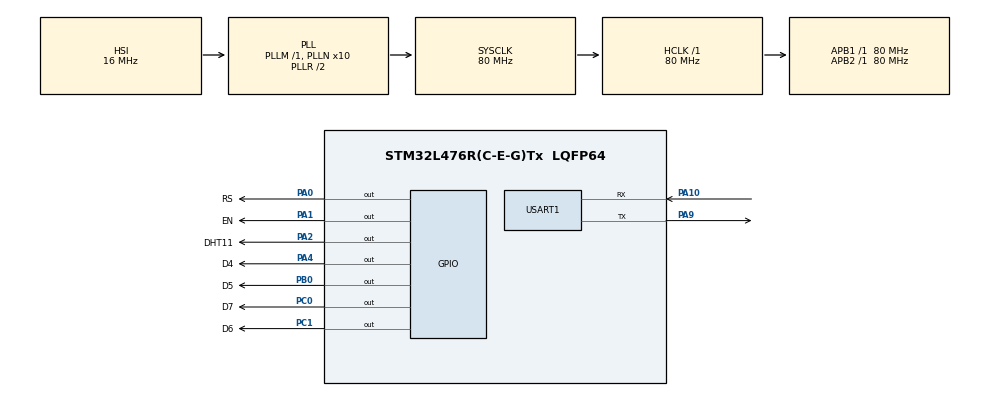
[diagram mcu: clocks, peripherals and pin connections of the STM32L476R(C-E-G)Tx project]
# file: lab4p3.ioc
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Dma.Request0=USART1_RX
Dma.Request1=USART1_TX
Dma.USART1_RX.0.Direction=DMA_PERIPH_TO_MEMORY
Dma.USART1_RX.0.Instance=DMA1_Channel5
Dma.USART1_RX.0.MemDataAlignment=DMA_MDATAALIGN_BYTE
Dma.USART1_RX.0.MemInc=DMA_MINC_ENABLE
Dma.USART1_RX.0.Mode=DMA_CIRCULAR
Dma.USART1_RX.0.PeriphDataAlignment=DMA_PDATAALIGN_BYTE
Dma.USART1_RX.0.PeriphInc=DMA_PINC_DISABLE
Dma.USART1_RX.0.Priority=DMA_PRIORITY_LOW
Dma.USART1_TX.1.Direction=DMA_MEMORY_TO_PERIPH
Dma.USART1_TX.1.Instance=DMA1_Channel4
Dma.USART1_TX.1.MemDataAlignment=DMA_MDATAALIGN_BYTE
Dma.USART1_TX.1.MemInc=DMA_MINC_ENABLE
Dma.USART1_TX.1.Mode=DMA_CIRCULAR
Dma.USART1_TX.1.PeriphDataAlignment=DMA_PDATAALIGN_BYTE
Dma.USART1_TX.1.PeriphInc=DMA_PINC_DISABLE
Dma.USART1_TX.1.Priority=DMA_PRIORITY_LOW
Mcu.Family=STM32L4
Mcu.Name=STM32L476R(C-E-G)Tx
Mcu.Package=LQFP64
NVIC.DMA1_Channel4_IRQn=true\:0\:0\:false\:false\:true\:false\:true\:true
NVIC.DMA1_Channel5_IRQn=true\:0\:0\:false\:false\:true\:false\:true\:true
NVIC.PriorityGroup=NVIC_PRIORITYGROUP_4
PA0.GPIO_Label=RS
PA0.Signal=GPIO_Output
PA1.GPIO_Label=EN
PA1.Signal=GPIO_Output
PA10.Mode=Asynchronous
PA10.Signal=USART1_RX
PA2.GPIO_Label=DHT11
PA2.GPIO_ModeDefaultOutputPP=GPIO_MODE_OUTPUT_OD
PA2.GPIO_PuPd=GPIO_PULLUP
PA2.Signal=GPIO_Output
PA3.GPIO_Label=USART_RX
PA3.GPIO_Mode=GPIO_MODE_AF_PP
PA3.GPIO_PuPd=GPIO_NOPULL
PA3.GPIO_Speed=GPIO_SPEED_FREQ_VERY_HIGH
PA3.Signal=USART2_RX
PA4.GPIO_Label=D4
PA4.Signal=GPIO_Output
PA9.Mode=Asynchronous
PA9.Signal=USART1_TX
PB0.GPIO_Label=D5
PB0.Signal=GPIO_Output
PC0.GPIO_Label=D7
PC0.Signal=GPIO_Output
PC1.GPIO_Label=D6
PC1.Signal=GPIO_Output
ProjectManager.HeapSize=0x200
ProjectManager.StackSize=0x400
ProjectManager.TargetToolchain=STM32CubeIDE
RCC.ADCFreq_Value=64000000
RCC.AHBFreq_Value=80000000
RCC.APB1Freq_Value=80000000
RCC.APB1TimFreq_Value=80000000
RCC.APB2Freq_Value=80000000
RCC.APB2TimFreq_Value=80000000
RCC.CortexFreq_Value=80000000
RCC.HCLKFreq_Value=80000000
RCC.HSE_VALUE=8000000
RCC.HSI_VALUE=16000000
RCC.LSE_VALUE=32768
RCC.MSI_VALUE=4000000
RCC.PLLN=10
RCC.PLLSourceVirtual=RCC_PLLSOURCE_HSI
RCC.PREFETCH_ENABLE=1
RCC.SYSCLKFreq_VALUE=80000000
RCC.SYSCLKSource=RCC_SYSCLKSOURCE_PLLCLK
RCC.USBFreq_Value=64000000
RCC.VCOOutputFreq_Value=160000000
USART1.VirtualMode-Asynchronous=VM_ASYNC
VP_TIM1_VS_ClockSourceINT.Mode=Internal
board=NUCLEO-L476RG

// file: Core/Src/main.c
/* USER CODE BEGIN Header */
/**
  ******************************************************************************
  * @file           : main.c
  * @brief          : Main program body
  ******************************************************************************
  * @attention
  *
  * Copyright (c) 2025 STMicroelectronics.
  * All rights reserved.
  *
  * This software is licensed under terms that can be found in the LICENSE file
  * in the root directory of this software component.
  * If no LICENSE file comes with this software, it is provided AS-IS.
  *
  ******************************************************************************
  */
/* USER CODE END Header */
#include "main.h"

/* USER CODE BEGIN Includes */
#include "lcd_driver.h"
#include <stdio.h>
#include <string.h>

/* USER CODE END Includes */

TIM_HandleTypeDef htim1;

UART_HandleTypeDef huart1;
DMA_HandleTypeDef hdma_usart1_rx;
DMA_HandleTypeDef hdma_usart1_tx;

/* USER CODE BEGIN PV */
char tx_buff[40];
float temperature = 0, humidity = 0;

/* USER CODE END PV */

void SystemClock_Config(void);
static void MX_GPIO_Init(void);
static void MX_DMA_Init(void);
static void MX_USART1_UART_Init(void);
static void MX_TIM1_Init(void);
/* USER CODE BEGIN PFP */
void DHT11_Delay(uint32_t us);
void DHT11_Start(void);
uint8_t DHT11_CheckResponse(void);
uint8_t DHT11_ReadByte(void);
uint8_t DHT11_Read(float *temperature, float *humidity);

/* USER CODE END PFP */

/* USER CODE BEGIN 0 */
/* DHT11 pin configuration */
#define DHT11_PIN GPIO_PIN_2
#define DHT11_PORT GPIOA

/* Microsecond delay using TIM1 */
void DHT11_Delay(uint32_t us) {
    __HAL_TIM_SET_COUNTER(&htim1, 0);
    while (__HAL_TIM_GET_COUNTER(&htim1) < us);
}

/* Start signal for DHT11 */
void DHT11_Start(void) {
    GPIO_InitTypeDef GPIO_InitStruct = {0};
    GPIO_InitStruct.Pin = DHT11_PIN;
    GPIO_InitStruct.Mode = GPIO_MODE_OUTPUT_OD;
    GPIO_InitStruct.Pull = GPIO_PULLUP;
    GPIO_InitStruct.Speed = GPIO_SPEED_FREQ_LOW;
    HAL_GPIO_Init(DHT11_PORT, &GPIO_InitStruct);

    HAL_GPIO_WritePin(DHT11_PORT, DHT11_PIN, GPIO_PIN_RESET);
    HAL_Delay(20);
    HAL_GPIO_WritePin(DHT11_PORT, DHT11_PIN, GPIO_PIN_SET);
    DHT11_Delay(30);
}

/* Check response from DHT11 */
uint8_t DHT11_CheckResponse(void) {
    uint8_t response = 0;
    GPIO_InitTypeDef GPIO_InitStruct = {0};
    GPIO_InitStruct.Pin = DHT11_PIN;
    GPIO_InitStruct.Mode = GPIO_MODE_INPUT;
    GPIO_InitStruct.Pull = GPIO_NOPULL;
    HAL_GPIO_Init(DHT11_PORT, &GPIO_InitStruct);

    DHT11_Delay(40);
    if (!HAL_GPIO_ReadPin(DHT11_PORT, DHT11_PIN)) {
        DHT11_Delay(80);
        if (HAL_GPIO_ReadPin(DHT11_PORT, DHT11_PIN)) response = 1;
        while (HAL_GPIO_ReadPin(DHT11_PORT, DHT11_PIN));
    }
    return response;
}

/* Read one byte from DHT11 */
uint8_t DHT11_ReadByte(void) {
    uint8_t i, byte = 0;
    for (i = 0; i < 8; i++) {
        while (!HAL_GPIO_ReadPin(DHT11_PORT, DHT11_PIN));
        DHT11_Delay(40);
        if (HAL_GPIO_ReadPin(DHT11_PORT, DHT11_PIN)) byte |= (1 << (7 - i));
        while (HAL_GPIO_ReadPin(DHT11_PORT, DHT11_PIN));
    }
    return byte;
}

/* Read temperature and humidity */
uint8_t DHT11_Read(float *temperature, float *humidity) {
    uint8_t Rh_byte1, Rh_byte2, Temp_byte1, Temp_byte2, sum;

    DHT11_Start();
    if (!DHT11_CheckResponse()) {
        sprintf(tx_buff, "No response from DHT11\r\n");
        HAL_UART_Transmit(&huart1, (uint8_t*)tx_buff, strlen(tx_buff), HAL_MAX_DELAY);
        return 0;
    }

    Rh_byte1 = DHT11_ReadByte();
    Rh_byte2 = DHT11_ReadByte();
    Temp_byte1 = DHT11_ReadByte();
    Temp_byte2 = DHT11_ReadByte();
    sum = DHT11_ReadByte();

    // Debug: show raw bytes
    sprintf(tx_buff, "Raw: %d %d %d %d Sum: %d\r\n", Rh_byte1, Rh_byte2, Temp_byte1, Temp_byte2, sum);
    HAL_UART_Transmit(&huart1, (uint8_t*)tx_buff, strlen(tx_buff), HAL_MAX_DELAY);

    if (sum != (Rh_byte1 + Rh_byte2 + Temp_byte1 + Temp_byte2)) {
        sprintf(tx_buff, "Checksum failed\r\n");
        HAL_UART_Transmit(&huart1, (uint8_t*)tx_buff, strlen(tx_buff), HAL_MAX_DELAY);
        return 0;
    }

    *humidity = (float)Rh_byte1;
    *temperature = (float)Temp_byte1;
    return 1;
}
/* USER CODE END 0 */

int main(void)
{

  /* MCU Configuration--------------------------------------------------------*/

  /* Reset of all peripherals, Initializes the Flash interface and the Systick. */
  HAL_Init();

  /* Configure the system clock */
  SystemClock_Config();

  /* Initialize all configured peripherals */
  MX_GPIO_Init();
  MX_DMA_Init();
  MX_USART1_UART_Init();
  MX_TIM1_Init();
  /* USER CODE BEGIN 2 */
  lcd_init();
  HAL_TIM_Base_Start(&htim1);
  /* USER CODE END 2 */

  /* Infinite loop */
  while (1)
  {

    /* USER CODE BEGIN 3 */
	  if (DHT11_Read(&temperature, &humidity)) {
		  int tempF = (int)(temperature * 1.8 + 32);
		  int hum = (int)humidity;

		  sprintf(tx_buff, "Temp: %d F Hum: %d%%\r\n", tempF, hum);
		  HAL_UART_Transmit(&huart1, (uint8_t*)tx_buff, strlen(tx_buff), HAL_MAX_DELAY);

		  lcd_clear();
		  setCursor(0, 0);
		  lcd_send_string("Temp:");
		  setCursor(0, 6);
		  sprintf(tx_buff, "%d F", tempF);
		  lcd_send_string(tx_buff);

		  setCursor(1, 0);
		  lcd_send_string("Hum:");
		  setCursor(1, 5);
		  sprintf(tx_buff, "%d%%", hum);
		  lcd_send_string(tx_buff);
	  } else {
		  lcd_clear();
		  setCursor(0, 0);
		  lcd_send_string("DHT11 Error");
		  sprintf(tx_buff, "Sensor read failed\r\n");
		  HAL_UART_Transmit(&huart1, (uint8_t*)tx_buff, strlen(tx_buff), HAL_MAX_DELAY);
	  }

	  HAL_Delay(2000);
  }
  /* USER CODE END 3 */
}

void SystemClock_Config(void)
{
  RCC_OscInitTypeDef RCC_OscInitStruct = {0};
  RCC_ClkInitTypeDef RCC_ClkInitStruct = {0};

  /** Configure the main internal regulator output voltage
  */
  if (HAL_PWREx_ControlVoltageScaling(PWR_REGULATOR_VOLTAGE_SCALE1) != HAL_OK)
  {
    Error_Handler();
  }

  /** Initializes the RCC Oscillators according to the specified parameters
  * in the RCC_OscInitTypeDef structure.
  */
  RCC_OscInitStruct.OscillatorType = RCC_OSCILLATORTYPE_HSI;
  RCC_OscInitStruct.HSIState = RCC_HSI_ON;
  RCC_OscInitStruct.HSICalibrationValue = RCC_HSICALIBRATION_DEFAULT;
  RCC_OscInitStruct.PLL.PLLState = RCC_PLL_ON;
  RCC_OscInitStruct.PLL.PLLSource = RCC_PLLSOURCE_HSI;
  RCC_OscInitStruct.PLL.PLLM = 1;
  RCC_OscInitStruct.PLL.PLLN = 10;
  RCC_OscInitStruct.PLL.PLLP = RCC_PLLP_DIV7;
  RCC_OscInitStruct.PLL.PLLQ = RCC_PLLQ_DIV2;
  RCC_OscInitStruct.PLL.PLLR = RCC_PLLR_DIV2;
  if (HAL_RCC_OscConfig(&RCC_OscInitStruct) != HAL_OK)
  {
    Error_Handler();
  }

  /** Initializes the CPU, AHB and APB buses clocks
  */
  RCC_ClkInitStruct.ClockType = RCC_CLOCKTYPE_HCLK|RCC_CLOCKTYPE_SYSCLK
                              |RCC_CLOCKTYPE_PCLK1|RCC_CLOCKTYPE_PCLK2;
  RCC_ClkInitStruct.SYSCLKSource = RCC_SYSCLKSOURCE_PLLCLK;
  RCC_ClkInitStruct.AHBCLKDivider = RCC_SYSCLK_DIV1;
  RCC_ClkInitStruct.APB1CLKDivider = RCC_HCLK_DIV1;
  RCC_ClkInitStruct.APB2CLKDivider = RCC_HCLK_DIV1;

  if (HAL_RCC_ClockConfig(&RCC_ClkInitStruct, FLASH_LATENCY_4) != HAL_OK)
  {
    Error_Handler();
  }
}

static void MX_TIM1_Init(void)
{

  TIM_ClockConfigTypeDef sClockSourceConfig = {0};
  TIM_MasterConfigTypeDef sMasterConfig = {0};

  htim1.Instance = TIM1;
  htim1.Init.Prescaler = 71;
  htim1.Init.CounterMode = TIM_COUNTERMODE_UP;
  htim1.Init.Period = 65535;
  htim1.Init.ClockDivision = TIM_CLOCKDIVISION_DIV1;
  htim1.Init.RepetitionCounter = 0;
  htim1.Init.AutoReloadPreload = TIM_AUTORELOAD_PRELOAD_DISABLE;
  if (HAL_TIM_Base_Init(&htim1) != HAL_OK)
  {
    Error_Handler();
  }
  sClockSourceConfig.ClockSource = TIM_CLOCKSOURCE_INTERNAL;
  if (HAL_TIM_ConfigClockSource(&htim1, &sClockSourceConfig) != HAL_OK)
  {
    Error_Handler();
  }
  sMasterConfig.MasterOutputTrigger = TIM_TRGO_RESET;
  sMasterConfig.MasterOutputTrigger2 = TIM_TRGO2_RESET;
  sMasterConfig.MasterSlaveMode = TIM_MASTERSLAVEMODE_DISABLE;
  if (HAL_TIMEx_MasterConfigSynchronization(&htim1, &sMasterConfig) != HAL_OK)
  {
    Error_Handler();
  }

}

static void MX_USART1_UART_Init(void)
{

  huart1.Instance = USART1;
  huart1.Init.BaudRate = 115200;
  huart1.Init.WordLength = UART_WORDLENGTH_8B;
  huart1.Init.StopBits = UART_STOPBITS_1;
  huart1.Init.Parity = UART_PARITY_NONE;
  huart1.Init.Mode = UART_MODE_TX_RX;
  huart1.Init.HwFlowCtl = UART_HWCONTROL_NONE;
  huart1.Init.OverSampling = UART_OVERSAMPLING_16;
  huart1.Init.OneBitSampling = UART_ONE_BIT_SAMPLE_DISABLE;
  huart1.AdvancedInit.AdvFeatureInit = UART_ADVFEATURE_NO_INIT;
  if (HAL_UART_Init(&huart1) != HAL_OK)
  {
    Error_Handler();
  }

}

static void MX_DMA_Init(void)
{

  /* DMA controller clock enable */
  __HAL_RCC_DMA1_CLK_ENABLE();

  /* DMA interrupt init */
  /* DMA1_Channel4_IRQn interrupt configuration */
  HAL_NVIC_SetPriority(DMA1_Channel4_IRQn, 0, 0);
  HAL_NVIC_EnableIRQ(DMA1_Channel4_IRQn);
  /* DMA1_Channel5_IRQn interrupt configuration */
  HAL_NVIC_SetPriority(DMA1_Channel5_IRQn, 0, 0);
  HAL_NVIC_EnableIRQ(DMA1_Channel5_IRQn);

}

static void MX_GPIO_Init(void)
{
  GPIO_InitTypeDef GPIO_InitStruct = {0};

  /* GPIO Ports Clock Enable */
  __HAL_RCC_GPIOC_CLK_ENABLE();
  __HAL_RCC_GPIOA_CLK_ENABLE();
  __HAL_RCC_GPIOB_CLK_ENABLE();

  /*Configure GPIO pin Output Level */
  HAL_GPIO_WritePin(GPIOC, D7_Pin|D6_Pin, GPIO_PIN_RESET);

  /*Configure GPIO pin Output Level */
  HAL_GPIO_WritePin(GPIOA, RS_Pin|EN_Pin|DHT11_Pin|D4_Pin, GPIO_PIN_RESET);

  /*Configure GPIO pin Output Level */
  HAL_GPIO_WritePin(D5_GPIO_Port, D5_Pin, GPIO_PIN_RESET);

  /*Configure GPIO pins : D7_Pin D6_Pin */
  GPIO_InitStruct.Pin = D7_Pin|D6_Pin;
  GPIO_InitStruct.Mode = GPIO_MODE_OUTPUT_PP;
  GPIO_InitStruct.Pull = GPIO_NOPULL;
  GPIO_InitStruct.Speed = GPIO_SPEED_FREQ_LOW;
  HAL_GPIO_Init(GPIOC, &GPIO_InitStruct);

  /*Configure GPIO pins : RS_Pin EN_Pin D4_Pin */
  GPIO_InitStruct.Pin = RS_Pin|EN_Pin|D4_Pin;
  GPIO_InitStruct.Mode = GPIO_MODE_OUTPUT_PP;
  GPIO_InitStruct.Pull = GPIO_NOPULL;
  GPIO_InitStruct.Speed = GPIO_SPEED_FREQ_LOW;
  HAL_GPIO_Init(GPIOA, &GPIO_InitStruct);

  /*Configure GPIO pin : DHT11_Pin */
  GPIO_InitStruct.Pin = DHT11_Pin;
  GPIO_InitStruct.Mode = GPIO_MODE_OUTPUT_OD;
  GPIO_InitStruct.Pull = GPIO_PULLUP;
  GPIO_InitStruct.Speed = GPIO_SPEED_FREQ_LOW;
  HAL_GPIO_Init(DHT11_GPIO_Port, &GPIO_InitStruct);

  /*Configure GPIO pin : USART_RX_Pin */
  GPIO_InitStruct.Pin = USART_RX_Pin;
  GPIO_InitStruct.Mode = GPIO_MODE_AF_PP;
  GPIO_InitStruct.Pull = GPIO_NOPULL;
  GPIO_InitStruct.Speed = GPIO_SPEED_FREQ_VERY_HIGH;
  GPIO_InitStruct.Alternate = GPIO_AF7_USART2;
  HAL_GPIO_Init(USART_RX_GPIO_Port, &GPIO_InitStruct);

  /*Configure GPIO pin : D5_Pin */
  GPIO_InitStruct.Pin = D5_Pin;
  GPIO_InitStruct.Mode = GPIO_MODE_OUTPUT_PP;
  GPIO_InitStruct.Pull = GPIO_NOPULL;
  GPIO_InitStruct.Speed = GPIO_SPEED_FREQ_LOW;
  HAL_GPIO_Init(D5_GPIO_Port, &GPIO_InitStruct);

}

void Error_Handler(void)
{
  __disable_irq();
  while (1)
  {
  }
}
